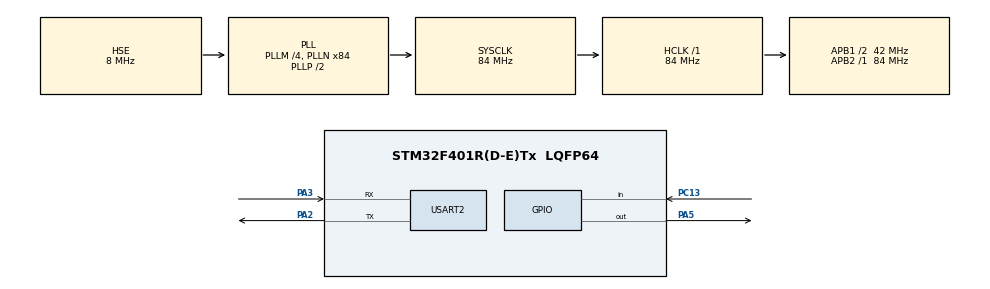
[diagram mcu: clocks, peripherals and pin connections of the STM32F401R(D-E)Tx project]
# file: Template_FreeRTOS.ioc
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Mcu.Family=STM32F4
Mcu.Name=STM32F401R(D-E)Tx
Mcu.Package=LQFP64
NVIC.PriorityGroup=NVIC_PRIORITYGROUP_4
NVIC.TIM1_TRG_COM_TIM11_IRQn=true\:15\:0\:false\:false\:true\:false\:true\:true
NVIC.TimeBase=TIM1_TRG_COM_TIM11_IRQn
NVIC.TimeBaseIP=TIM11
NVIC.USART2_IRQn=true\:15\:0\:true\:false\:true\:true\:true\:true
PA2.Mode=Asynchronous
PA2.Signal=USART2_TX
PA3.Mode=Asynchronous
PA3.Signal=USART2_RX
PA5.Signal=GPIO_Output
PC13-ANTI_TAMP.Signal=GPIO_Input
PH0\ -\ OSC_IN.Mode=HSE-External-Clock-Source
PH0\ -\ OSC_IN.Signal=RCC_OSC_IN
PH1\ -\ OSC_OUT.Mode=HSE-External-Clock-Source
PH1\ -\ OSC_OUT.Signal=RCC_OSC_OUT
ProjectManager.HeapSize=0x200
ProjectManager.StackSize=0x400
ProjectManager.TargetToolchain=STM32CubeIDE
RCC.48MHZClocksFreq_Value=42000000
RCC.AHBFreq_Value=84000000
RCC.APB1CLKDivider=RCC_HCLK_DIV2
RCC.APB1Freq_Value=42000000
RCC.APB1TimFreq_Value=84000000
RCC.APB2Freq_Value=84000000
RCC.APB2TimFreq_Value=84000000
RCC.CortexFreq_Value=84000000
RCC.HCLKFreq_Value=84000000
RCC.HSE_VALUE=8000000
RCC.HSI_VALUE=16000000
RCC.LSE_VALUE=32768
RCC.PLLM=4
RCC.PLLN=84
RCC.PLLSourceVirtual=RCC_PLLSOURCE_HSE
RCC.SYSCLKFreq_VALUE=84000000
RCC.SYSCLKSource=RCC_SYSCLKSOURCE_PLLCLK
RCC.VCOOutputFreq_Value=168000000
USART2.VirtualMode=VM_ASYNC
VP_SYS_VS_tim11.Mode=TIM11
board=custom

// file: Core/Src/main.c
/* USER CODE BEGIN Header */
/**
  ******************************************************************************
  * @file           : main.c
  * @brief          : Main program body
  ******************************************************************************
  * @attention
  *
  * Copyright (c) 2022 STMicroelectronics.
  * All rights reserved.
  *
  * This software is licensed under terms that can be found in the LICENSE file
  * in the root directory of this software component.
  * If no LICENSE file comes with this software, it is provided AS-IS.
  *
  ******************************************************************************
  */
/* USER CODE END Header */
#include "main.h"
#include "usart.h"
#include "gpio.h"

/* USER CODE BEGIN Includes */
#include "FreeRTOS.h"
#include "task.h"
#include "queue.h"

#include <stdio.h>
#include <stdarg.h>
#include <string.h>
/* USER CODE END Includes */

/* USER CODE BEGIN PM */
/**
 * 0 : no se desea usar segger system view
 * 1 : se usa para la depuracion
 */
#define SYSTEM_VIEW				1
/* USER CODE END PM */

/* USER CODE BEGIN PV */
TaskHandle_t task1_handle;
TaskHandle_t task3_handle;
QueueHandle_t xQueue;			//manejador del queue
QueueHandle_t xQueueUART;

/* USER CODE END PV */

void SystemClock_Config(void);
/* USER CODE BEGIN PFP */
void Task1(void *params);
void Task2(void *params);
void Task3(void *params);

void UART_Printf(char *format,...);
/* USER CODE END PFP */

/* USER CODE BEGIN 0 */
volatile uint8_t rx=0;
/* USER CODE END 0 */

int main(void)
{
  /* USER CODE BEGIN 1 */
	BaseType_t status;
  /* USER CODE END 1 */

  /* MCU Configuration--------------------------------------------------------*/

  /* Reset of all peripherals, Initializes the Flash interface and the Systick. */
  HAL_Init();

  /* Configure the system clock */
  SystemClock_Config();

  /* Initialize all configured peripherals */
  MX_GPIO_Init();
  MX_USART2_UART_Init();
  /* USER CODE BEGIN 2 */
#if SYSTEM_VIEW
  DWT->CTRL |= 1;
  SEGGER_SYSVIEW_Conf();
  /*solo se va usar cuando se trabaje en modo one shot*/
//  SEGGER_SYSVIEW_Start();

#endif
  HAL_UART_Receive_IT(&huart2, &rx,1);
  status = xTaskCreate(Task1,
		  	  	  	  "tarea 1",
					  configMINIMAL_STACK_SIZE,
					  "hola mundo\r\n",
					  3,
					  &task1_handle);
  configASSERT(status == pdPASS);

  status = xTaskCreate(Task2,
		  	  	  	  "tarea 2",
					  configMINIMAL_STACK_SIZE,
					  NULL,
					  3,
					  NULL);
  configASSERT(status == pdPASS);
  xQueue = xQueueCreate(/*# de elementos*/ 5,
  		  	  	  	  	  /*# de bytes por item*/ sizeof(uint8_t));
  configASSERT(xQueue != NULL);

  xQueueUART = xQueueCreate(/*# de elementos*/ 5,
    		  	  	  	  	  /*# de bytes por item*/ sizeof(uint8_t));
    configASSERT(xQueue != NULL);

  /* inicializa el kernel*/
  vTaskStartScheduler();
  /* USER CODE END 2 */

  /* Infinite loop */
  while (1)
  {

  }
}

void SystemClock_Config(void)
{
  RCC_OscInitTypeDef RCC_OscInitStruct = {0};
  RCC_ClkInitTypeDef RCC_ClkInitStruct = {0};

  /** Configure the main internal regulator output voltage
  */
  __HAL_RCC_PWR_CLK_ENABLE();
  __HAL_PWR_VOLTAGESCALING_CONFIG(PWR_REGULATOR_VOLTAGE_SCALE2);

  /** Initializes the RCC Oscillators according to the specified parameters
  * in the RCC_OscInitTypeDef structure.
  */
  RCC_OscInitStruct.OscillatorType = RCC_OSCILLATORTYPE_HSE;
  RCC_OscInitStruct.HSEState = RCC_HSE_BYPASS;
  RCC_OscInitStruct.PLL.PLLState = RCC_PLL_ON;
  RCC_OscInitStruct.PLL.PLLSource = RCC_PLLSOURCE_HSE;
  RCC_OscInitStruct.PLL.PLLM = 4;
  RCC_OscInitStruct.PLL.PLLN = 84;
  RCC_OscInitStruct.PLL.PLLP = RCC_PLLP_DIV2;
  RCC_OscInitStruct.PLL.PLLQ = 4;
  if (HAL_RCC_OscConfig(&RCC_OscInitStruct) != HAL_OK)
  {
    Error_Handler();
  }

  /** Initializes the CPU, AHB and APB buses clocks
  */
  RCC_ClkInitStruct.ClockType = RCC_CLOCKTYPE_HCLK|RCC_CLOCKTYPE_SYSCLK
                              |RCC_CLOCKTYPE_PCLK1|RCC_CLOCKTYPE_PCLK2;
  RCC_ClkInitStruct.SYSCLKSource = RCC_SYSCLKSOURCE_PLLCLK;
  RCC_ClkInitStruct.AHBCLKDivider = RCC_SYSCLK_DIV1;
  RCC_ClkInitStruct.APB1CLKDivider = RCC_HCLK_DIV2;
  RCC_ClkInitStruct.APB2CLKDivider = RCC_HCLK_DIV1;

  if (HAL_RCC_ClockConfig(&RCC_ClkInitStruct, FLASH_LATENCY_2) != HAL_OK)
  {
    Error_Handler();
  }
}

/* USER CODE BEGIN 4 */
void Task1(void *params){
	/*inicializacion*/
	uint8_t data = 0;
	BaseType_t status;			//verificar
	/*loop*/
	while(1){
		data++;
		//se envia un dato
		status = xQueueSend(xQueue, (void*)&data, 0xFFFFFFFF);
		//verificar si el queue se envio correctamente
		if(status == pdTRUE){
			SEGGER_SYSVIEW_PrintfHost("dato enviado\r\r");

		}else{
			SEGGER_SYSVIEW_PrintfHost("que lleno!\r\r");

		}
		vTaskDelay(50);

	vTaskDelay(pdMS_TO_TICKS(100));
	}
	/*Elimina la tarea*/
	vTaskDelete(NULL);
}
void Task2(void *params){
	uint8_t data;
	BaseType_t status;
	for(;;){
		//recibir informacion
		status = xQueueReceive(xQueue, (void *)&data, 400);

		if(status == pdTRUE){
			SEGGER_SYSVIEW_PrintfHost("dato recibido->%d\r\r",data);
		}else{
			SEGGER_SYSVIEW_PrintfHost("ningun dato disponible\r\r");
		}
		vTaskDelay(500);
	}
	/*Elimina la tarea*/
	vTaskDelete(NULL);
}
void Task3(void *params){
	uint8_t receivedByte;

	for(;;){
		 // Esperar a que llegue un byte a la cola desde la ISR de la UART
		        if (xQueueReceive(xQueueUART, &receivedByte, portMAX_DELAY) == pdPASS) {
		            // Procesar el byte recibido
		            UART_Printf("UART Received\n");
		            SEGGER_SYSVIEW_PrintfHost("dato recibido->%d\r\r",receivedByte);
		        }

	}
	/*Elimina la tarea*/
	vTaskDelete(NULL);
}

void HAL_UART_RxCpltCallback(UART_HandleTypeDef *huart){
	BaseType_t xHigherPriorityTaskWoken = pdFALSE;
		xQueueSendFromISR(xQueueUART, &rx, &xHigherPriorityTaskWoken);
		///portYIELD_FROM_ISR(xHigherPriorityTaskWoken);
		  HAL_UART_Receive_IT(&huart2, &rx,1);

}
void UART_Printf(char *format,...){
    char str[80];

    /*Extract the the argument list using VA apis */
    va_list args;
    va_start(args, format);
    vsprintf(str, format,args);
    HAL_UART_Transmit(&huart2, (uint8_t*)str, strlen(str), 10);
    va_end(args);
}
/* USER CODE END 4 */

void HAL_TIM_PeriodElapsedCallback(TIM_HandleTypeDef *htim)
{
  if (htim->Instance == TIM11) {
    HAL_IncTick();
  }
}

void Error_Handler(void)
{
  __disable_irq();
  while (1)
  {
  }
}
